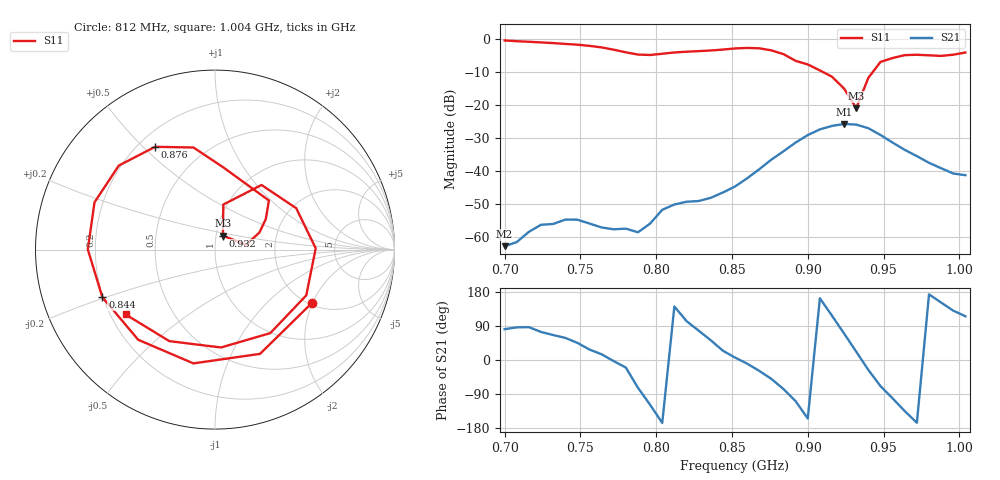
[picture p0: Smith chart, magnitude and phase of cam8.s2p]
# Hz S RI R 50
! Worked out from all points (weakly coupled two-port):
!   39 points, 700 MHz to 1.004 GHz, reference 50 ohm
!   highest |S21| = -25.80 dB at 924 MHz (marker M1); lowest = -62.7 dB at 700 MHz (marker M2)
!   lowest |S11| = -21.0 dB at 932 MHz (marker M3), VSWR 1.20, Z = 54 + j8.39 ohm
!   |S11| at or under -10 dB: 909.6 MHz to 943.1 MHz (33.55 MHz wide, 3.62 % of centre)
!   S12 and S22 are empty: the file has one direction only
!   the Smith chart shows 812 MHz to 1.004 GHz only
!   S11 on the Smith chart (normalised r, x): 812 MHz: 2.05, -1.98; 844 MHz: 0.20, -0.19; 876 MHz: 0.27, +0.54; 932 MHz: 1.08, +0.17; 1.004 GHz: 0.26, -0.30
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7e8  0.7685 0.533  0.00011 0.000725  0 0  0 0
7.24e8  0.8342 -0.2594  0.000423 0.00148  0 0  0 0
7.4e8  0.4428 -0.7012  0.000968 0.00157  0 0  0 0
7.56e8  -0.1983 -0.7493  0.00143 0.000746  0 0  0 0
7.72e8  -0.6521 -0.1867  0.00132 -6.94e-05  0 0  0 0
7.8e8  -0.5733 0.2334  0.00127 -0.000462  0 0  0 0
7.88e8  -0.2227 0.5276  0.00034 -0.00114  0 0  0 0
7.96e8  0.2582 0.5017  -0.000764 -0.00142  0 0  0 0
8.04e8  0.5712 0.1439  -0.00252 -0.000624  0 0  0 0
8.12e8  0.5384 -0.2989  -0.00243 0.00196  0 0  0 0
8.28e8  -0.12 -0.634  0.000764 0.00344  0 0  0 0
8.44e8  -0.6277 -0.265  0.00431 0.00197  0 0  0 0
8.52e8  -0.7087 0.00135  0.0058 0.000653  0 0  0 0
8.76e8  -0.3336 0.5727  0.00958 -0.0114  0 0  0 0
9e8  0.3004 0.2736  -0.0314 -0.0151  0 0  0 0
9.08e8  0.2829 0.1698  -0.0406 0.0125  0 0  0 0
9.24e8  0.173 0.0271  0.0178 0.0481  0 0  0 0
9.32e8  0.0443 0.0771  0.0466 0.0186  0 0  0 0
9.4e8  0.0463 0.2511  0.0397 -0.0196  0 0  0 0
9.56e8  0.4525 0.2306  -0.00525 -0.0263  0 0  0 0
9.8e8  0.3082 -0.4652  -0.0132 0.00157  0 0  0 0
1.004e9  -0.4977 -0.3614  -0.00371 0.00781  0 0  0 0
